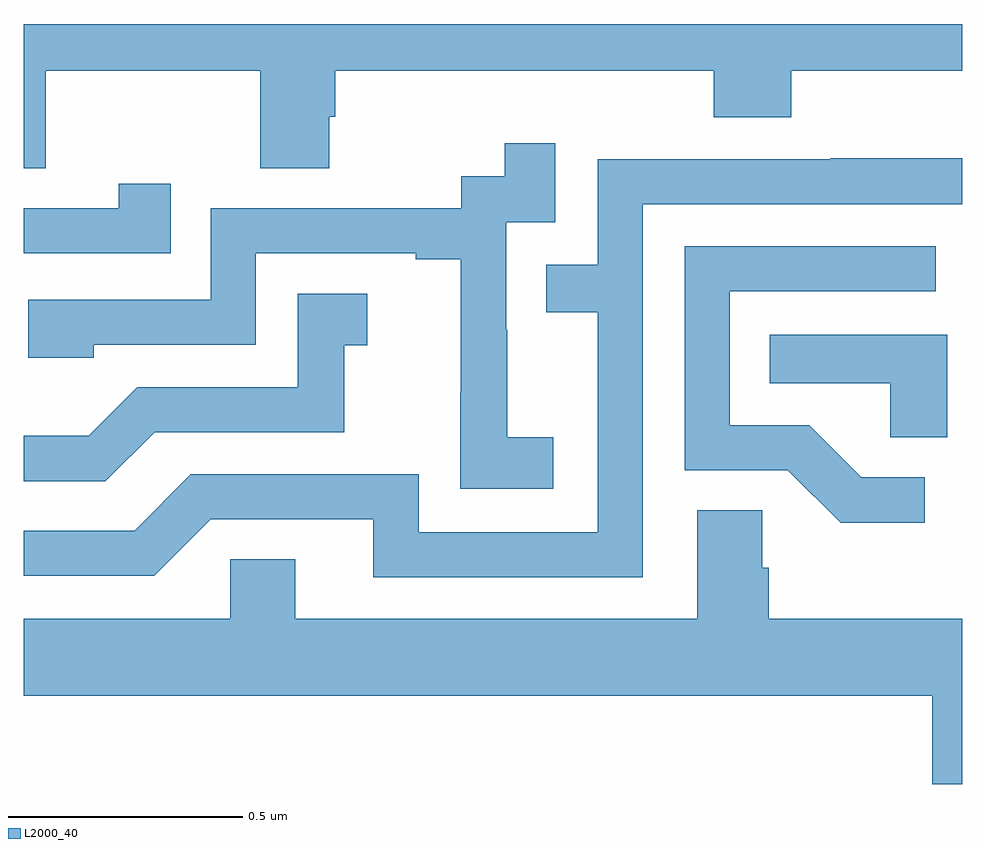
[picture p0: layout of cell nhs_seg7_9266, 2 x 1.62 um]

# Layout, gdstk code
import gdstk
lib = gdstk.Library(unit=1e-6, precision=1e-09)
def P(c, l, *ps):  # polygons
    for p in ps: c.add(gdstk.Polygon(p, *l))
L2000_40 = (2000, 40)

nhs_seg7_9266 = lib.new_cell('nhs_seg7_9266')
P(nhs_seg7_9266, L2000_40, [(235.047,1049.9),(235.504,1049.9),(235.504,1049.692),(235.651,1049.692),(235.651,1049.802),(235.664,1049.802),(235.664,1049.9),(236.471,1049.9),(236.471,1049.801),(236.636,1049.801),(236.636,1049.9),(237,1049.9),(237,1050),(235,1050),(235,1049.692),(235.047,1049.692)],
  [(236.128,1049.119),(236.03,1049.119),(236.03,1049.348),(236.028,1049.348),(236.028,1049.577),(236.133,1049.577),(236.133,1049.746),(236.025,1049.746),(236.025,1049.676),(235.932,1049.676),(235.932,1049.607),(235.398,1049.607),(235.398,1049.412),(235.009,1049.412),(235.009,1049.289),(235.149,1049.289),(235.149,1049.316),(235.494,1049.316),(235.494,1049.511),(235.835,1049.511),(235.835,1049.499),(235.931,1049.499),(235.931,1049.215),(235.93,1049.215),(235.93,1049.009),(236.128,1049.009)],
  [(236.319,1049.616),(237,1049.616),(237,1049.714),(236.719,1049.714),(236.719,1049.712),(236.223,1049.712),(236.223,1049.487),(236.113,1049.487),(236.113,1049.386),(236.223,1049.386),(236.223,1048.917),(235.842,1048.917),(235.842,1049.04),(235.356,1049.04),(235.236,1048.92),(235,1048.92),(235,1048.824),(235.278,1048.824),(235.398,1048.944),(235.745,1048.944),(235.745,1048.821),(236.319,1048.821)],
  [(235.313,1049.659),(235.202,1049.659),(235.202,1049.607),(235,1049.607),(235,1049.511),(235.313,1049.511)],
  [(236.92,1049.034),(236.785,1049.034),(236.674,1049.145),(236.505,1049.145),(236.505,1049.43),(236.944,1049.43),(236.944,1049.526),(236.409,1049.526),(236.409,1049.049),(236.628,1049.049),(236.741,1048.937),(236.92,1048.937)],
  [(235.279,1049.13),(235.683,1049.13),(235.683,1049.315),(235.732,1049.315),(235.732,1049.425),(235.584,1049.425),(235.584,1049.226),(235.242,1049.226),(235.138,1049.122),(235,1049.122),(235,1049.025),(235.174,1049.025)],
  [(236.968,1049.338),(236.59,1049.338),(236.59,1049.234),(236.847,1049.234),(236.847,1049.119),(236.968,1049.119)],
  [(237,1048.732),(236.588,1048.732),(236.588,1048.841),(236.574,1048.841),(236.574,1048.964),(236.435,1048.964),(236.435,1048.732),(235.579,1048.732),(235.579,1048.859),(235.44,1048.859),(235.44,1048.732),(235,1048.732),(235,1048.568),(236.936,1048.568),(236.936,1048.38),(237,1048.38)])

lib.write_gds('nhs_seg7_9266.gds')
